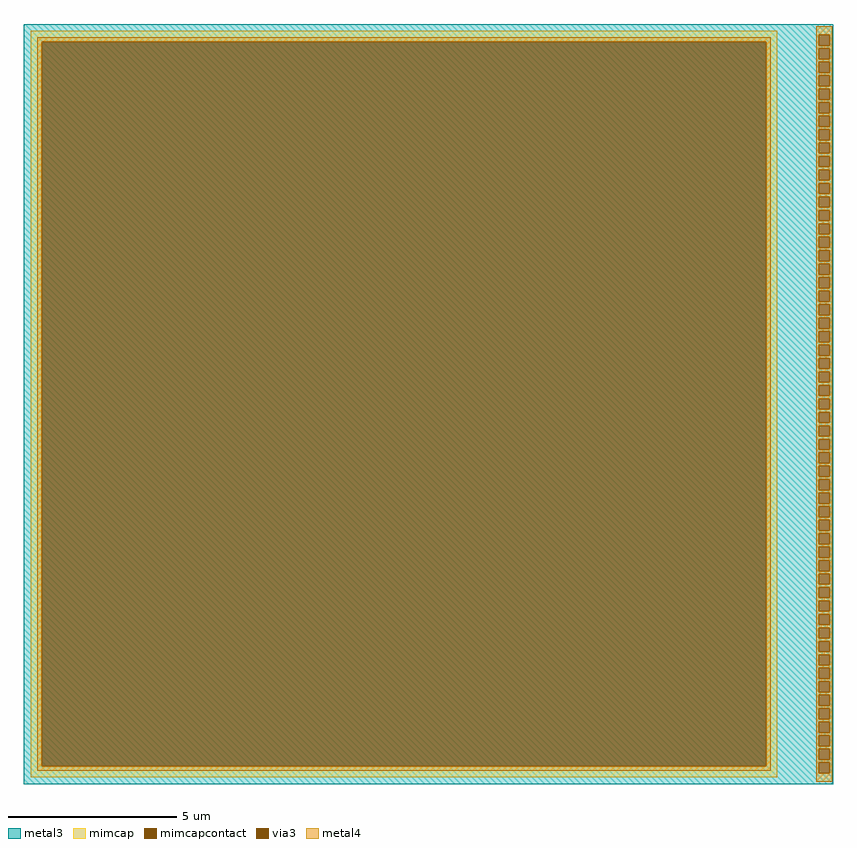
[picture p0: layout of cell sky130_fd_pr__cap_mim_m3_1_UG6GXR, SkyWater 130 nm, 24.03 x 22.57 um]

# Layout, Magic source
magic
tech sky130A
magscale 1 2
<< metal3 >>
rect -2403 2192 2403 2257
rect -2403 2128 2319 2192
rect 2383 2128 2403 2192
rect -2403 2112 2403 2128
rect -2403 2048 2319 2112
rect 2383 2048 2403 2112
rect -2403 2032 2403 2048
rect -2403 1968 2319 2032
rect 2383 1968 2403 2032
rect -2403 1952 2403 1968
rect -2403 1888 2319 1952
rect 2383 1888 2403 1952
rect -2403 1872 2403 1888
rect -2403 1808 2319 1872
rect 2383 1808 2403 1872
rect -2403 1792 2403 1808
rect -2403 1728 2319 1792
rect 2383 1728 2403 1792
rect -2403 1712 2403 1728
rect -2403 1648 2319 1712
rect 2383 1648 2403 1712
rect -2403 1632 2403 1648
rect -2403 1568 2319 1632
rect 2383 1568 2403 1632
rect -2403 1552 2403 1568
rect -2403 1488 2319 1552
rect 2383 1488 2403 1552
rect -2403 1472 2403 1488
rect -2403 1408 2319 1472
rect 2383 1408 2403 1472
rect -2403 1392 2403 1408
rect -2403 1328 2319 1392
rect 2383 1328 2403 1392
rect -2403 1312 2403 1328
rect -2403 1248 2319 1312
rect 2383 1248 2403 1312
rect -2403 1232 2403 1248
rect -2403 1168 2319 1232
rect 2383 1168 2403 1232
rect -2403 1152 2403 1168
rect -2403 1088 2319 1152
rect 2383 1088 2403 1152
rect -2403 1072 2403 1088
rect -2403 1008 2319 1072
rect 2383 1008 2403 1072
rect -2403 992 2403 1008
rect -2403 928 2319 992
rect 2383 928 2403 992
rect -2403 912 2403 928
rect -2403 848 2319 912
rect 2383 848 2403 912
rect -2403 832 2403 848
rect -2403 768 2319 832
rect 2383 768 2403 832
rect -2403 752 2403 768
rect -2403 688 2319 752
rect 2383 688 2403 752
rect -2403 672 2403 688
rect -2403 608 2319 672
rect 2383 608 2403 672
rect -2403 592 2403 608
rect -2403 528 2319 592
rect 2383 528 2403 592
rect -2403 512 2403 528
rect -2403 448 2319 512
rect 2383 448 2403 512
rect -2403 432 2403 448
rect -2403 368 2319 432
rect 2383 368 2403 432
rect -2403 352 2403 368
rect -2403 288 2319 352
rect 2383 288 2403 352
rect -2403 272 2403 288
rect -2403 208 2319 272
rect 2383 208 2403 272
rect -2403 192 2403 208
rect -2403 128 2319 192
rect 2383 128 2403 192
rect -2403 112 2403 128
rect -2403 48 2319 112
rect 2383 48 2403 112
rect -2403 32 2403 48
rect -2403 -32 2319 32
rect 2383 -32 2403 32
rect -2403 -48 2403 -32
rect -2403 -112 2319 -48
rect 2383 -112 2403 -48
rect -2403 -128 2403 -112
rect -2403 -192 2319 -128
rect 2383 -192 2403 -128
rect -2403 -208 2403 -192
rect -2403 -272 2319 -208
rect 2383 -272 2403 -208
rect -2403 -288 2403 -272
rect -2403 -352 2319 -288
rect 2383 -352 2403 -288
rect -2403 -368 2403 -352
rect -2403 -432 2319 -368
rect 2383 -432 2403 -368
rect -2403 -448 2403 -432
rect -2403 -512 2319 -448
rect 2383 -512 2403 -448
rect -2403 -528 2403 -512
rect -2403 -592 2319 -528
rect 2383 -592 2403 -528
rect -2403 -608 2403 -592
rect -2403 -672 2319 -608
rect 2383 -672 2403 -608
rect -2403 -688 2403 -672
rect -2403 -752 2319 -688
rect 2383 -752 2403 -688
rect -2403 -768 2403 -752
rect -2403 -832 2319 -768
rect 2383 -832 2403 -768
rect -2403 -848 2403 -832
rect -2403 -912 2319 -848
rect 2383 -912 2403 -848
rect -2403 -928 2403 -912
rect -2403 -992 2319 -928
rect 2383 -992 2403 -928
rect -2403 -1008 2403 -992
rect -2403 -1072 2319 -1008
rect 2383 -1072 2403 -1008
rect -2403 -1088 2403 -1072
rect -2403 -1152 2319 -1088
rect 2383 -1152 2403 -1088
rect -2403 -1168 2403 -1152
rect -2403 -1232 2319 -1168
rect 2383 -1232 2403 -1168
rect -2403 -1248 2403 -1232
rect -2403 -1312 2319 -1248
rect 2383 -1312 2403 -1248
rect -2403 -1328 2403 -1312
rect -2403 -1392 2319 -1328
rect 2383 -1392 2403 -1328
rect -2403 -1408 2403 -1392
rect -2403 -1472 2319 -1408
rect 2383 -1472 2403 -1408
rect -2403 -1488 2403 -1472
rect -2403 -1552 2319 -1488
rect 2383 -1552 2403 -1488
rect -2403 -1568 2403 -1552
rect -2403 -1632 2319 -1568
rect 2383 -1632 2403 -1568
rect -2403 -1648 2403 -1632
rect -2403 -1712 2319 -1648
rect 2383 -1712 2403 -1648
rect -2403 -1728 2403 -1712
rect -2403 -1792 2319 -1728
rect 2383 -1792 2403 -1728
rect -2403 -1808 2403 -1792
rect -2403 -1872 2319 -1808
rect 2383 -1872 2403 -1808
rect -2403 -1888 2403 -1872
rect -2403 -1952 2319 -1888
rect 2383 -1952 2403 -1888
rect -2403 -1968 2403 -1952
rect -2403 -2032 2319 -1968
rect 2383 -2032 2403 -1968
rect -2403 -2048 2403 -2032
rect -2403 -2112 2319 -2048
rect 2383 -2112 2403 -2048
rect -2403 -2128 2403 -2112
rect -2403 -2192 2319 -2128
rect 2383 -2192 2403 -2128
rect -2403 -2257 2403 -2192
<< via3 >>
rect 2319 2128 2383 2192
rect 2319 2048 2383 2112
rect 2319 1968 2383 2032
rect 2319 1888 2383 1952
rect 2319 1808 2383 1872
rect 2319 1728 2383 1792
rect 2319 1648 2383 1712
rect 2319 1568 2383 1632
rect 2319 1488 2383 1552
rect 2319 1408 2383 1472
rect 2319 1328 2383 1392
rect 2319 1248 2383 1312
rect 2319 1168 2383 1232
rect 2319 1088 2383 1152
rect 2319 1008 2383 1072
rect 2319 928 2383 992
rect 2319 848 2383 912
rect 2319 768 2383 832
rect 2319 688 2383 752
rect 2319 608 2383 672
rect 2319 528 2383 592
rect 2319 448 2383 512
rect 2319 368 2383 432
rect 2319 288 2383 352
rect 2319 208 2383 272
rect 2319 128 2383 192
rect 2319 48 2383 112
rect 2319 -32 2383 32
rect 2319 -112 2383 -48
rect 2319 -192 2383 -128
rect 2319 -272 2383 -208
rect 2319 -352 2383 -288
rect 2319 -432 2383 -368
rect 2319 -512 2383 -448
rect 2319 -592 2383 -528
rect 2319 -672 2383 -608
rect 2319 -752 2383 -688
rect 2319 -832 2383 -768
rect 2319 -912 2383 -848
rect 2319 -992 2383 -928
rect 2319 -1072 2383 -1008
rect 2319 -1152 2383 -1088
rect 2319 -1232 2383 -1168
rect 2319 -1312 2383 -1248
rect 2319 -1392 2383 -1328
rect 2319 -1472 2383 -1408
rect 2319 -1552 2383 -1488
rect 2319 -1632 2383 -1568
rect 2319 -1712 2383 -1648
rect 2319 -1792 2383 -1728
rect 2319 -1872 2383 -1808
rect 2319 -1952 2383 -1888
rect 2319 -2032 2383 -1968
rect 2319 -2112 2383 -2048
rect 2319 -2192 2383 -2128
<< mimcap >>
rect -2363 2152 2071 2217
rect -2363 -2152 -2298 2152
rect 2006 -2152 2071 2152
rect -2363 -2217 2071 -2152
<< mimcapcontact >>
rect -2298 -2152 2006 2152
<< metal4 >>
rect 2303 2192 2399 2245
rect -2324 2152 2032 2178
rect -2324 -2152 -2298 2152
rect 2006 -2152 2032 2152
rect -2324 -2178 2032 -2152
rect 2303 2128 2319 2192
rect 2383 2128 2399 2192
rect 2303 2112 2399 2128
rect 2303 2048 2319 2112
rect 2383 2048 2399 2112
rect 2303 2032 2399 2048
rect 2303 1968 2319 2032
rect 2383 1968 2399 2032
rect 2303 1952 2399 1968
rect 2303 1888 2319 1952
rect 2383 1888 2399 1952
rect 2303 1872 2399 1888
rect 2303 1808 2319 1872
rect 2383 1808 2399 1872
rect 2303 1792 2399 1808
rect 2303 1728 2319 1792
rect 2383 1728 2399 1792
rect 2303 1712 2399 1728
rect 2303 1648 2319 1712
rect 2383 1648 2399 1712
rect 2303 1632 2399 1648
rect 2303 1568 2319 1632
rect 2383 1568 2399 1632
rect 2303 1552 2399 1568
rect 2303 1488 2319 1552
rect 2383 1488 2399 1552
rect 2303 1472 2399 1488
rect 2303 1408 2319 1472
rect 2383 1408 2399 1472
rect 2303 1392 2399 1408
rect 2303 1328 2319 1392
rect 2383 1328 2399 1392
rect 2303 1312 2399 1328
rect 2303 1248 2319 1312
rect 2383 1248 2399 1312
rect 2303 1232 2399 1248
rect 2303 1168 2319 1232
rect 2383 1168 2399 1232
rect 2303 1152 2399 1168
rect 2303 1088 2319 1152
rect 2383 1088 2399 1152
rect 2303 1072 2399 1088
rect 2303 1008 2319 1072
rect 2383 1008 2399 1072
rect 2303 992 2399 1008
rect 2303 928 2319 992
rect 2383 928 2399 992
rect 2303 912 2399 928
rect 2303 848 2319 912
rect 2383 848 2399 912
rect 2303 832 2399 848
rect 2303 768 2319 832
rect 2383 768 2399 832
rect 2303 752 2399 768
rect 2303 688 2319 752
rect 2383 688 2399 752
rect 2303 672 2399 688
rect 2303 608 2319 672
rect 2383 608 2399 672
rect 2303 592 2399 608
rect 2303 528 2319 592
rect 2383 528 2399 592
rect 2303 512 2399 528
rect 2303 448 2319 512
rect 2383 448 2399 512
rect 2303 432 2399 448
rect 2303 368 2319 432
rect 2383 368 2399 432
rect 2303 352 2399 368
rect 2303 288 2319 352
rect 2383 288 2399 352
rect 2303 272 2399 288
rect 2303 208 2319 272
rect 2383 208 2399 272
rect 2303 192 2399 208
rect 2303 128 2319 192
rect 2383 128 2399 192
rect 2303 112 2399 128
rect 2303 48 2319 112
rect 2383 48 2399 112
rect 2303 32 2399 48
rect 2303 -32 2319 32
rect 2383 -32 2399 32
rect 2303 -48 2399 -32
rect 2303 -112 2319 -48
rect 2383 -112 2399 -48
rect 2303 -128 2399 -112
rect 2303 -192 2319 -128
rect 2383 -192 2399 -128
rect 2303 -208 2399 -192
rect 2303 -272 2319 -208
rect 2383 -272 2399 -208
rect 2303 -288 2399 -272
rect 2303 -352 2319 -288
rect 2383 -352 2399 -288
rect 2303 -368 2399 -352
rect 2303 -432 2319 -368
rect 2383 -432 2399 -368
rect 2303 -448 2399 -432
rect 2303 -512 2319 -448
rect 2383 -512 2399 -448
rect 2303 -528 2399 -512
rect 2303 -592 2319 -528
rect 2383 -592 2399 -528
rect 2303 -608 2399 -592
rect 2303 -672 2319 -608
rect 2383 -672 2399 -608
rect 2303 -688 2399 -672
rect 2303 -752 2319 -688
rect 2383 -752 2399 -688
rect 2303 -768 2399 -752
rect 2303 -832 2319 -768
rect 2383 -832 2399 -768
rect 2303 -848 2399 -832
rect 2303 -912 2319 -848
rect 2383 -912 2399 -848
rect 2303 -928 2399 -912
rect 2303 -992 2319 -928
rect 2383 -992 2399 -928
rect 2303 -1008 2399 -992
rect 2303 -1072 2319 -1008
rect 2383 -1072 2399 -1008
rect 2303 -1088 2399 -1072
rect 2303 -1152 2319 -1088
rect 2383 -1152 2399 -1088
rect 2303 -1168 2399 -1152
rect 2303 -1232 2319 -1168
rect 2383 -1232 2399 -1168
rect 2303 -1248 2399 -1232
rect 2303 -1312 2319 -1248
rect 2383 -1312 2399 -1248
rect 2303 -1328 2399 -1312
rect 2303 -1392 2319 -1328
rect 2383 -1392 2399 -1328
rect 2303 -1408 2399 -1392
rect 2303 -1472 2319 -1408
rect 2383 -1472 2399 -1408
rect 2303 -1488 2399 -1472
rect 2303 -1552 2319 -1488
rect 2383 -1552 2399 -1488
rect 2303 -1568 2399 -1552
rect 2303 -1632 2319 -1568
rect 2383 -1632 2399 -1568
rect 2303 -1648 2399 -1632
rect 2303 -1712 2319 -1648
rect 2383 -1712 2399 -1648
rect 2303 -1728 2399 -1712
rect 2303 -1792 2319 -1728
rect 2383 -1792 2399 -1728
rect 2303 -1808 2399 -1792
rect 2303 -1872 2319 -1808
rect 2383 -1872 2399 -1808
rect 2303 -1888 2399 -1872
rect 2303 -1952 2319 -1888
rect 2383 -1952 2399 -1888
rect 2303 -1968 2399 -1952
rect 2303 -2032 2319 -1968
rect 2383 -2032 2399 -1968
rect 2303 -2048 2399 -2032
rect 2303 -2112 2319 -2048
rect 2383 -2112 2399 -2048
rect 2303 -2128 2399 -2112
rect 2303 -2192 2319 -2128
rect 2383 -2192 2399 -2128
rect 2303 -2245 2399 -2192
<< properties >>
string FIXED_BBOX -2403 -2257 2111 2257
<< end >>
